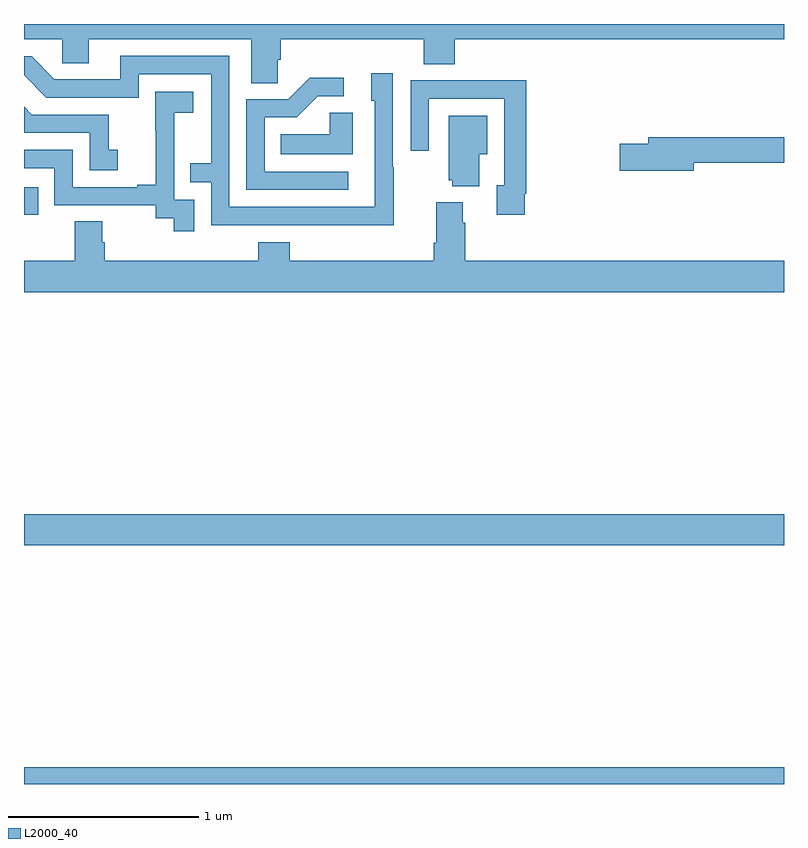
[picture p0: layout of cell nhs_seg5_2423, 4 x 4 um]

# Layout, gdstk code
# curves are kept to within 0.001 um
import gdstk
lib = gdstk.Library(unit=1e-6, precision=1e-09)
def R(c, l, rs):  # rectangles x0, y0, x1, y1
    for r in rs: c.add(gdstk.rectangle(r[:2], r[2:], *l))
def P(c, l, *ps):  # polygons
    for p in ps: c.add(gdstk.Polygon(p, *l))
L2000_40 = (2000, 40)

nhs_seg5_2423 = lib.new_cell('nhs_seg5_2423')
R(nhs_seg5_2423, L2000_40, [(251,892.799,255,892.888), (251,894.056,255,894.22), (251,895.794,251.075,895.941)])
P(nhs_seg5_2423, L2000_40, [(252.336,896.611),(252.35,896.611),(252.35,896.72),(253.103,896.72),(253.103,896.587),(253.268,896.587),(253.268,896.72),(255,896.72),(255,896.799),(251,896.799),(251,896.72),(251.202,896.72),(251.202,896.593),(251.341,896.593),(251.341,896.72),(252.197,896.72),(252.197,896.488),(252.336,896.488)],
  [(252.945,896.045),(252.942,896.045),(252.942,896.539),(252.827,896.539),(252.827,896.394),(252.846,896.394),(252.846,895.836),(252.081,895.836),(252.081,896.631),(251.507,896.631),(251.507,896.508),(251.16,896.508),(251.04,896.628),(251,896.628),(251,896.53),(251.118,896.412),(251.604,896.412),(251.604,896.535),(251.985,896.535),(251.985,896.066),(251.875,896.066),(251.875,895.965),(251.985,895.965),(251.985,895.74),(252.945,895.739)],
  [(252.706,896.022),(252.267,896.022),(252.267,896.307),(252.436,896.307),(252.547,896.418),(252.682,896.418),(252.682,896.516),(252.503,896.516),(252.39,896.403),(252.171,896.403),(252.171,895.926),(252.706,895.926)],
  [(253.636,895.906),(253.643,895.906),(253.643,896.504),(253.351,896.504),(253.351,896.502),(253.035,896.502),(253.035,896.133),(253.131,896.133),(253.131,896.406),(253.527,896.406),(253.527,895.95),(253.487,895.95),(253.487,895.794),(253.636,895.794)],
  [(251.895,895.875),(251.79,895.875),(251.79,896.105),(251.792,896.105),(251.792,896.333),(251.89,896.333),(251.89,896.443),(251.692,896.443),(251.692,896.237),(251.693,896.237),(251.693,895.954),(251.597,895.954),(251.597,895.941),(251.256,895.941),(251.256,896.136),(251,896.136),(251,896.04),(251.16,896.04),(251.16,895.845),(251.694,895.845),(251.694,895.777),(251.787,895.777),(251.787,895.707),(251.895,895.707)],
  [(251.494,896.137),(251.445,896.137),(251.445,896.322),(251.041,896.322),(251,896.363),(251,896.23),(251.004,896.226),(251.346,896.226),(251.346,896.028),(251.494,896.028)],
  [(252.73,896.333),(252.609,896.333),(252.609,896.218),(252.352,896.218),(252.352,896.114),(252.73,896.114)],
  [(253.396,896.114),(253.438,896.114),(253.438,896.317),(253.235,896.317),(253.235,895.977),(253.253,895.977),(253.253,895.946),(253.396,895.946)],
  [(254.524,896.068),(255,896.068),(255,896.204),(254.285,896.204),(254.285,896.168),(254.136,896.168),(254.136,896.026),(254.524,896.026)],
  [(255,895.552),(253.322,895.552),(253.322,895.754),(253.309,895.754),(253.309,895.861),(253.169,895.861),(253.169,895.648),(253.157,895.648),(253.157,895.552),(252.398,895.552),(252.398,895.651),(252.233,895.651),(252.233,895.552),(251.426,895.552),(251.426,895.65),(251.413,895.65),(251.413,895.76),(251.266,895.76),(251.266,895.552),(251,895.552),(251,895.388),(255,895.388)])

lib.write_gds('nhs_seg5_2423.gds')
